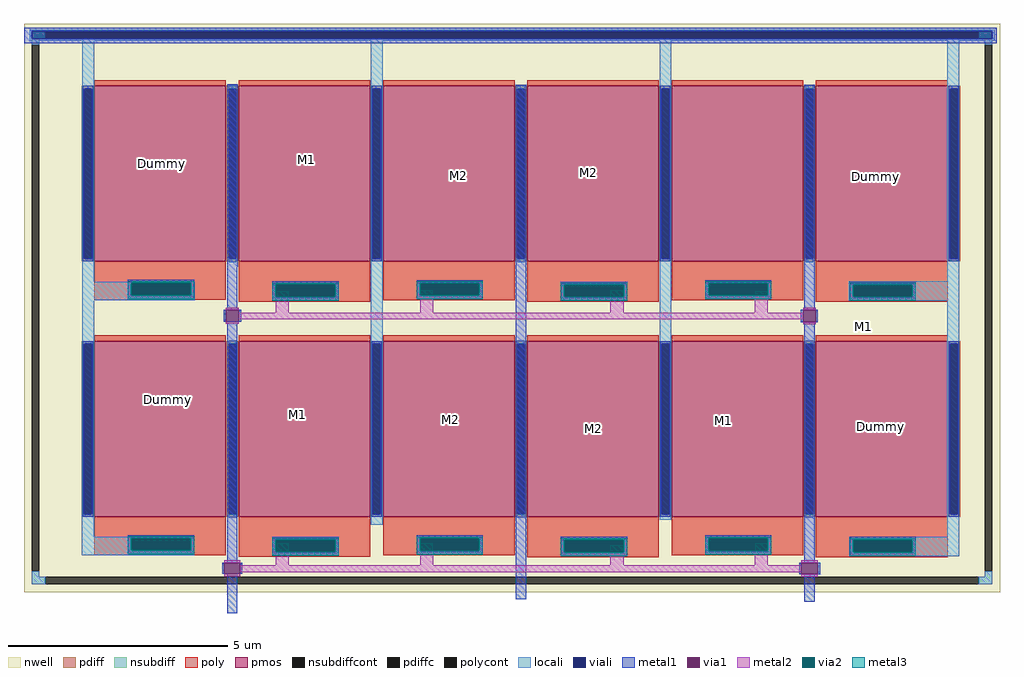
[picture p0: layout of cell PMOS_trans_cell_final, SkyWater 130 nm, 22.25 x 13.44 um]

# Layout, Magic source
magic
tech sky130A
magscale 1 2
<< locali >>
rect 10 2554 4410 2560
rect 10 2520 20 2554
rect 4398 2520 4410 2554
rect 10 2510 4410 2520
rect 250 1412 304 2510
rect 250 1328 762 1412
rect 250 350 304 1328
rect 248 250 304 350
rect 1566 304 1620 2510
rect 2882 326 2936 2510
rect 4194 1414 4248 2510
rect 3744 1326 4248 1414
rect 4194 250 4248 1326
rect 248 166 760 250
rect 3746 160 4248 250
<< viali >>
rect 20 2520 4398 2554
<< metal1 >>
rect -16 2554 4420 2570
rect -16 2520 20 2554
rect 4398 2520 4420 2554
rect -16 2500 4420 2520
rect 910 1480 958 2312
rect 911 1284 957 1480
rect 894 1230 904 1284
rect 964 1230 974 1284
rect 911 132 957 1230
rect 888 80 898 132
rect 970 80 980 132
rect 911 -99 957 80
rect 2226 -36 2274 2310
rect 3542 1284 3590 2310
rect 3526 1228 3536 1284
rect 3594 1228 3604 1284
rect 3542 132 3590 1228
rect 3518 78 3528 132
rect 3604 78 3614 132
rect 3542 -48 3590 78
<< via1 >>
rect 904 1230 964 1284
rect 898 80 970 132
rect 3536 1228 3594 1284
rect 3528 78 3604 132
<< metal2 >>
rect 904 1284 964 1294
rect 1132 1270 1192 1372
rect 1790 1270 1850 1374
rect 2658 1270 2718 1374
rect 3316 1270 3376 1370
rect 3536 1284 3594 1294
rect 964 1240 3536 1270
rect 904 1220 964 1230
rect 3536 1218 3594 1228
rect 898 132 970 142
rect 1132 120 1192 220
rect 1790 120 1850 222
rect 2658 120 2718 214
rect 3316 120 3376 220
rect 3528 132 3604 142
rect 970 88 3528 120
rect 898 70 970 80
rect 3528 68 3604 78
use PMOS_cell  PMOS_cell_0 ~/Desktop/OSAD/my_ip/Layouts/VA001_PMOS_1.8_sky130
transform 1 0 211 0 1 157
box -227 -161 4223 2431
<< labels >>
flabel space 466 1788 752 2110 0 FreeSans 800 0 0 0 Dummy
flabel space 494 716 780 1038 0 FreeSans 800 0 0 0 Dummy
flabel space 3746 592 4032 914 0 FreeSans 800 0 0 0 Dummy
flabel space 3722 1730 4008 2052 0 FreeSans 800 0 0 0 Dummy
flabel space 1146 1782 1400 2160 0 FreeSans 800 0 0 0 M1
flabel space 1106 620 1360 998 0 FreeSans 800 0 0 0 M1
flabel space 3046 592 3300 970 0 FreeSans 800 0 0 0 M1
flabel space 3684 1018 3938 1396 0 FreeSans 800 0 0 0 M1
flabel space 1814 648 2044 922 0 FreeSans 800 0 0 0 M2
flabel space 2464 604 2694 878 0 FreeSans 800 0 0 0 M2
flabel space 2442 1772 2672 2046 0 FreeSans 800 0 0 0 M2
flabel space 1848 1758 2078 2032 0 FreeSans 800 0 0 0 M2
<< end >>

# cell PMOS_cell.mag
magic
tech sky130A
magscale 1 2
<< nwell >>
rect -227 -161 4223 2431
<< nsubdiff >>
rect -191 2361 -131 2395
rect 4127 2361 4187 2395
rect -191 2335 -157 2361
rect -191 -91 -157 -65
rect 4153 2335 4187 2361
rect 4153 -91 4187 -65
rect -191 -125 -131 -91
rect 4127 -125 4187 -91
<< nsubdiffcont >>
rect -131 2361 4127 2395
rect -191 -65 -157 2335
rect 4153 -65 4187 2335
rect -131 -125 4127 -91
<< locali >>
rect -191 2361 -131 2395
rect 4127 2361 4187 2395
rect -191 2335 -157 2361
rect -191 -91 -157 -65
rect 4153 2335 4187 2361
rect 4153 -91 4187 -65
rect -191 -125 -131 -91
rect 4127 -125 4187 -91
use PMOS_contact  PMOS_contact_0
transform 1 0 2803 0 1 -539
box -2803 539 1275 1585
use PMOS_contact  PMOS_contact_1
transform 1 0 2803 0 1 625
box -2803 539 1275 1585
<< end >>

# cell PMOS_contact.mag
magic
tech sky130A
magscale 1 2
<< nwell >>
rect -2802 624 1275 786
<< poly >>
rect -2709 609 -2109 697
rect -2709 569 -2540 609
rect -2270 569 -2109 609
rect -2709 547 -2109 569
rect -2051 602 -1451 697
rect -2051 562 -1882 602
rect -1612 562 -1451 602
rect -2051 540 -1451 562
rect -1393 608 -793 697
rect -1393 568 -1224 608
rect -954 568 -793 608
rect -1393 546 -793 568
rect -735 601 -135 697
rect -735 561 -566 601
rect -296 561 -135 601
rect -735 539 -135 561
rect -77 608 523 697
rect -77 568 92 608
rect 362 568 523 608
rect -77 546 523 568
rect 581 601 1181 697
rect 581 561 750 601
rect 1020 561 1181 601
rect 581 539 1181 561
<< polycont >>
rect -2540 569 -2270 609
rect -1882 562 -1612 602
rect -1224 568 -954 608
rect -566 561 -296 601
rect 92 568 362 608
rect 750 561 1020 601
<< locali >>
rect -2556 609 -2254 625
rect -2556 569 -2540 609
rect -2270 569 -2254 609
rect -2556 551 -2254 569
rect -1898 602 -1596 618
rect -1898 562 -1882 602
rect -1612 562 -1596 602
rect -1898 544 -1596 562
rect -1240 608 -938 624
rect -1240 568 -1224 608
rect -954 568 -938 608
rect -1240 550 -938 568
rect -582 601 -280 617
rect -582 561 -566 601
rect -296 561 -280 601
rect -582 543 -280 561
rect 76 608 378 624
rect 76 568 92 608
rect 362 568 378 608
rect 76 550 378 568
rect 734 601 1036 617
rect 734 561 750 601
rect 1020 561 1036 601
rect 734 543 1036 561
<< viali >>
rect -2540 569 -2270 609
rect -1882 562 -1612 602
rect -1224 568 -954 608
rect -566 561 -296 601
rect 92 568 362 608
rect 750 561 1020 601
<< metal1 >>
rect -2556 619 -2254 639
rect -2556 567 -2540 619
rect -2270 567 -2254 619
rect -2556 551 -2254 567
rect -1898 612 -1596 632
rect -1898 560 -1882 612
rect -1612 560 -1596 612
rect -1898 544 -1596 560
rect -1240 618 -938 638
rect -1240 566 -1224 618
rect -954 566 -938 618
rect -1240 550 -938 566
rect -582 611 -280 631
rect -582 559 -566 611
rect -296 559 -280 611
rect -582 543 -280 559
rect 76 618 378 638
rect 76 566 92 618
rect 362 566 378 618
rect 76 550 378 566
rect 734 611 1036 631
rect 734 559 750 611
rect 1020 559 1036 611
rect 734 543 1036 559
<< via1 >>
rect -2540 609 -2270 619
rect -2540 569 -2270 609
rect -2540 567 -2270 569
rect -1882 602 -1612 612
rect -1882 562 -1612 602
rect -1882 560 -1612 562
rect -1224 608 -954 618
rect -1224 568 -954 608
rect -1224 566 -954 568
rect -566 601 -296 611
rect -566 561 -296 601
rect -566 559 -296 561
rect 92 608 362 618
rect 92 568 362 608
rect 92 566 362 568
rect 750 601 1020 611
rect 750 561 1020 601
rect 750 559 1020 561
<< metal2 >>
rect -2556 625 -2254 629
rect -2556 567 -2540 625
rect -2270 567 -2254 625
rect -1240 624 -938 628
rect -2556 551 -2254 567
rect -1898 618 -1596 622
rect -1898 560 -1882 618
rect -1612 560 -1596 618
rect -1898 544 -1596 560
rect -1240 566 -1224 624
rect -954 566 -938 624
rect 76 624 378 628
rect -1240 550 -938 566
rect -582 617 -280 621
rect -582 559 -566 617
rect -296 559 -280 617
rect -582 543 -280 559
rect 76 566 92 624
rect 362 566 378 624
rect 76 550 378 566
rect 734 617 1036 621
rect 734 559 750 617
rect 1020 559 1036 617
rect 734 543 1036 559
<< via2 >>
rect -2540 619 -2270 625
rect -2540 569 -2270 619
rect -1882 612 -1612 618
rect -1882 562 -1612 612
rect -1224 618 -954 624
rect -1224 568 -954 618
rect -566 611 -296 617
rect -566 561 -296 611
rect 92 618 362 624
rect 92 568 362 618
rect 750 611 1020 617
rect 750 561 1020 611
<< metal3 >>
rect -2556 625 -2254 633
rect -2556 569 -2540 625
rect -2270 569 -2254 625
rect -2556 551 -2254 569
rect -1898 618 -1596 626
rect -1898 562 -1882 618
rect -1612 562 -1596 618
rect -1898 544 -1596 562
rect -1240 624 -938 632
rect -1240 568 -1224 624
rect -954 568 -938 624
rect -1240 550 -938 568
rect -582 617 -280 625
rect -582 561 -566 617
rect -296 561 -280 617
rect -582 543 -280 561
rect 76 624 378 632
rect 76 568 92 624
rect 362 568 378 624
rect 76 550 378 568
rect 734 617 1036 625
rect 734 561 750 617
rect 1020 561 1036 617
rect 734 543 1036 561
use sky130_fd_pr__pfet_01v8_455LYC  sky130_fd_pr__pfet_01v8_455LYC_0 ~/Desktop/OSAD/my_ip/Layouts/VA001_PMOS_1.8_sky130
transform 1 0 223 0 1 1123
box -394 -462 394 462
use sky130_fd_pr__pfet_01v8_455LYC  sky130_fd_pr__pfet_01v8_455LYC_1
transform 1 0 -1093 0 1 1123
box -394 -462 394 462
use sky130_fd_pr__pfet_01v8_455LYC  sky130_fd_pr__pfet_01v8_455LYC_2
transform 1 0 -1751 0 1 1123
box -394 -462 394 462
use sky130_fd_pr__pfet_01v8_455LYC  sky130_fd_pr__pfet_01v8_455LYC_3
transform 1 0 -2409 0 1 1123
box -394 -462 394 462
use sky130_fd_pr__pfet_01v8_455LYC  sky130_fd_pr__pfet_01v8_455LYC_4
transform 1 0 -435 0 1 1123
box -394 -462 394 462
use sky130_fd_pr__pfet_01v8_455LYC  sky130_fd_pr__pfet_01v8_455LYC_5
transform 1 0 881 0 1 1123
box -394 -462 394 462
<< end >>

# cell sky130_fd_pr__pfet_01v8_455LYC: kit device sky130_fd_pr__pfet_01v8, w 4 l 3 m 1 nf 1 diffcov 100 polycov 100 guard 0 glc 0 grc 0 gtc 0 gbc 0 tbcov 100 rlcov 100 topc 0 botc 0 poverlap 0 doverlap 0 lmin 0.15 wmin 0.42 class mosfet compatible {sky130_fd_pr__pfet_01v8 sky130_fd_pr__pfet_01v8_lvt sky130_fd_pr__pfet_01v8_hvt sky130_fd_pr__pfet_g5v0d10v5} full_metal 0 viasrc 100 viadrn 100 viagate 100 viagb 0 viagr 0 viagl 0 viagt 0
